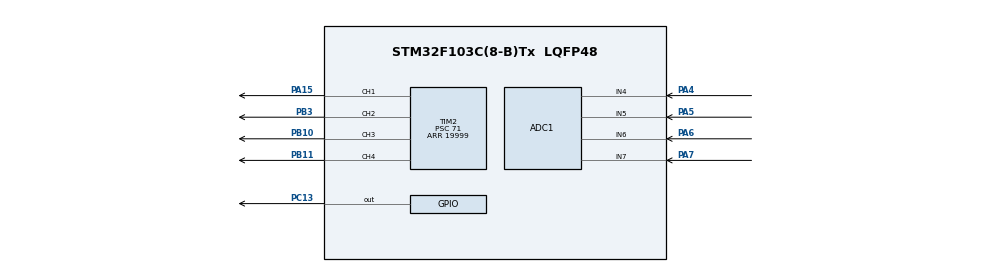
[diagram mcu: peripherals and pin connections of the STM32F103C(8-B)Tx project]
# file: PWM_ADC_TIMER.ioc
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ADC1.Channel-5\#ChannelRegularConversion=ADC_CHANNEL_4
ADC1.NbrOfConversionFlag=1
ADC1.Rank-5\#ChannelRegularConversion=1
ADC1.SamplingTime-5\#ChannelRegularConversion=ADC_SAMPLETIME_1CYCLE_5
ADC1.master=1
Mcu.Family=STM32F1
Mcu.Name=STM32F103C(8-B)Tx
Mcu.Package=LQFP48
NVIC.PriorityGroup=NVIC_PRIORITYGROUP_4
NVIC.TIM3_IRQn=true\:0\:0\:false\:false\:true\:true\:true\:true
PA15.Signal=S_TIM2_CH1_ETR
PA4.Signal=ADCx_IN4
PA5.Signal=ADCx_IN5
PA6.Signal=ADCx_IN6
PA7.Signal=ADCx_IN7
PB10.Signal=S_TIM2_CH3
PB11.Signal=S_TIM2_CH4
PB3.Signal=S_TIM2_CH2
PC13-TAMPER-RTC.Signal=GPIO_Output
PD0-OSC_IN.Mode=HSE-External-Oscillator
PD0-OSC_IN.Signal=RCC_OSC_IN
PD1-OSC_OUT.Mode=HSE-External-Oscillator
PD1-OSC_OUT.Signal=RCC_OSC_OUT
ProjectManager.HeapSize=0x200
ProjectManager.StackSize=0x400
ProjectManager.TargetToolchain=STM32CubeIDE
RCC.APB1CLKDivider=RCC_HCLK_DIV2
RCC.APB1Freq_Value=4000000
RCC.APB1TimFreq_Value=8000000
RCC.APB2Freq_Value=8000000
RCC.PLLMUL=RCC_PLL_MUL9
RCC.PLLSourceVirtual=RCC_PLLSOURCE_HSE
RCC.USBFreq_Value=72000000
SH.ADCx_IN4.0=ADC1_IN4,IN4
SH.ADCx_IN5.0=ADC1_IN5,IN5
SH.ADCx_IN6.0=ADC1_IN6,IN6
SH.ADCx_IN7.0=ADC1_IN7,IN7
SH.S_TIM2_CH1_ETR.0=TIM2_CH1,PWM Generation1 CH1
SH.S_TIM2_CH2.0=TIM2_CH2,PWM Generation2 CH2
SH.S_TIM2_CH3.0=TIM2_CH3,PWM Generation3 CH3
SH.S_TIM2_CH4.0=TIM2_CH4,PWM Generation4 CH4
TIM2.Channel-PWM\ Generation1\ CH1=TIM_CHANNEL_1
TIM2.Channel-PWM\ Generation2\ CH2=TIM_CHANNEL_2
TIM2.Channel-PWM\ Generation3\ CH3=TIM_CHANNEL_3
TIM2.Channel-PWM\ Generation4\ CH4=TIM_CHANNEL_4
TIM2.Period=19999
TIM2.Prescaler=71
TIM2.Pulse-PWM\ Generation2\ CH2=1500
TIM2.Pulse-PWM\ Generation3\ CH3=1500
TIM2.Pulse-PWM\ Generation4\ CH4=1500
TIM3.Period=1999
TIM3.Prescaler=71
VP_SYS_VS_ND.Mode=No_Debug
VP_TIM2_VS_ClockSourceINT.Mode=Internal
VP_TIM3_VS_ClockSourceINT.Mode=Internal
board=custom

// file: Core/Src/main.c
/* USER CODE BEGIN Header */
/**
  ******************************************************************************
  * @file           : main.c
  * @brief          : Main program body
  ******************************************************************************
  * @attention
  *
  * Copyright (c) 2026 STMicroelectronics.
  * All rights reserved.
  *
  * This software is licensed under terms that can be found in the LICENSE file
  * in the root directory of this software component.
  * If no LICENSE file comes with this software, it is provided AS-IS.
  *
  ******************************************************************************
  */
/* USER CODE END Header */
#include "main.h"

/* USER CODE BEGIN Includes */
#include <stdint.h>
/* USER CODE END Includes */

 ADC_HandleTypeDef hadc1;

TIM_HandleTypeDef htim2;
TIM_HandleTypeDef htim3;

/* USER CODE BEGIN PV */
uint32_t adc_buf[4];

uint16_t motor[4] = {1000, 1000, 1000, 1000};

volatile uint8_t control_flag = 0;

#define ADC_BATTERY   adc_buf[0]   // PA4 - IN4
#define ADC_ROLL      adc_buf[1]   // PA5 - IN5
#define ADC_PITCH     adc_buf[2]   // PA6 - IN6
#define ADC_THROTTLE  adc_buf[3]   // PA7 - IN7
/* USER CODE END PV */

void SystemClock_Config(void);
static void MX_GPIO_Init(void);
static void MX_ADC1_Init(void);
static void MX_TIM2_Init(void);
static void MX_TIM3_Init(void);

int main(void)
{

  /* MCU Configuration--------------------------------------------------------*/

  /* Reset of all peripherals, Initializes the Flash interface and the Systick. */
  HAL_Init();

  /* Configure the system clock */
  SystemClock_Config();

  /* Initialize all configured peripherals */
  MX_GPIO_Init();
  MX_ADC1_Init();
  MX_TIM2_Init();
  MX_TIM3_Init();
  /* USER CODE BEGIN 2 */
  // Khởi động ADC + DMA
  HAL_ADC_Start_DMA(&hadc1, adc_buf, 4);

  // Khởi động PWM — đúng chân mới PA15, PB3, PB10, PB11
  HAL_TIM_PWM_Start(&htim2, TIM_CHANNEL_1);  // PA15 - Motor 1
  HAL_TIM_PWM_Start(&htim2, TIM_CHANNEL_2);  // PB3  - Motor 2
  HAL_TIM_PWM_Start(&htim2, TIM_CHANNEL_3);  // PB10 - Motor 3
  HAL_TIM_PWM_Start(&htim2, TIM_CHANNEL_4);  // PB11 - Motor 4

  // Khởi động TIM3 interrupt
  HAL_TIM_Base_Start_IT(&htim3);

  // Tất cả motor về idle
  motor[0] = motor[1] = motor[2] = motor[3] = 1000;
  /* USER CODE END 2 */

  /* Infinite loop */
  /* USER CODE BEGIN WHILE */
  while (1)
  {
	  if (control_flag) {
	          control_flag = 0;
	          Control_Loop();
    /* USER CODE END WHILE */

  }
}

void SystemClock_Config(void)
{
  RCC_OscInitTypeDef RCC_OscInitStruct = {0};
  RCC_ClkInitTypeDef RCC_ClkInitStruct = {0};
  RCC_PeriphCLKInitTypeDef PeriphClkInit = {0};

  /** Initializes the RCC Oscillators according to the specified parameters
  * in the RCC_OscInitTypeDef structure.
  */
  RCC_OscInitStruct.OscillatorType = RCC_OSCILLATORTYPE_HSI;
  RCC_OscInitStruct.HSIState = RCC_HSI_ON;
  RCC_OscInitStruct.HSICalibrationValue = RCC_HSICALIBRATION_DEFAULT;
  RCC_OscInitStruct.PLL.PLLState = RCC_PLL_NONE;
  if (HAL_RCC_OscConfig(&RCC_OscInitStruct) != HAL_OK)
  {
    Error_Handler();
  }

  /** Initializes the CPU, AHB and APB buses clocks
  */
  RCC_ClkInitStruct.ClockType = RCC_CLOCKTYPE_HCLK|RCC_CLOCKTYPE_SYSCLK
                              |RCC_CLOCKTYPE_PCLK1|RCC_CLOCKTYPE_PCLK2;
  RCC_ClkInitStruct.SYSCLKSource = RCC_SYSCLKSOURCE_HSI;
  RCC_ClkInitStruct.AHBCLKDivider = RCC_SYSCLK_DIV1;
  RCC_ClkInitStruct.APB1CLKDivider = RCC_HCLK_DIV2;
  RCC_ClkInitStruct.APB2CLKDivider = RCC_HCLK_DIV1;

  if (HAL_RCC_ClockConfig(&RCC_ClkInitStruct, FLASH_LATENCY_0) != HAL_OK)
  {
    Error_Handler();
  }
  PeriphClkInit.PeriphClockSelection = RCC_PERIPHCLK_ADC;
  PeriphClkInit.AdcClockSelection = RCC_ADCPCLK2_DIV2;
  if (HAL_RCCEx_PeriphCLKConfig(&PeriphClkInit) != HAL_OK)
  {
    Error_Handler();
  }
}

static void MX_ADC1_Init(void)
{

  ADC_ChannelConfTypeDef sConfig = {0};

  /** Common config
  */
  hadc1.Instance = ADC1;
  hadc1.Init.ScanConvMode = ADC_SCAN_DISABLE;
  hadc1.Init.ContinuousConvMode = DISABLE;
  hadc1.Init.DiscontinuousConvMode = DISABLE;
  hadc1.Init.ExternalTrigConv = ADC_SOFTWARE_START;
  hadc1.Init.DataAlign = ADC_DATAALIGN_RIGHT;
  hadc1.Init.NbrOfConversion = 1;
  if (HAL_ADC_Init(&hadc1) != HAL_OK)
  {
    Error_Handler();
  }

  /** Configure Regular Channel
  */
  sConfig.Channel = ADC_CHANNEL_4;
  sConfig.Rank = ADC_REGULAR_RANK_1;
  sConfig.SamplingTime = ADC_SAMPLETIME_1CYCLE_5;
  if (HAL_ADC_ConfigChannel(&hadc1, &sConfig) != HAL_OK)
  {
    Error_Handler();
  }

}

static void MX_TIM2_Init(void)
{

  TIM_ClockConfigTypeDef sClockSourceConfig = {0};
  TIM_MasterConfigTypeDef sMasterConfig = {0};
  TIM_OC_InitTypeDef sConfigOC = {0};

  htim2.Instance = TIM2;
  htim2.Init.Prescaler = 71;
  htim2.Init.CounterMode = TIM_COUNTERMODE_UP;
  htim2.Init.Period = 19999;
  htim2.Init.ClockDivision = TIM_CLOCKDIVISION_DIV1;
  htim2.Init.AutoReloadPreload = TIM_AUTORELOAD_PRELOAD_DISABLE;
  if (HAL_TIM_Base_Init(&htim2) != HAL_OK)
  {
    Error_Handler();
  }
  sClockSourceConfig.ClockSource = TIM_CLOCKSOURCE_INTERNAL;
  if (HAL_TIM_ConfigClockSource(&htim2, &sClockSourceConfig) != HAL_OK)
  {
    Error_Handler();
  }
  if (HAL_TIM_PWM_Init(&htim2) != HAL_OK)
  {
    Error_Handler();
  }
  sMasterConfig.MasterOutputTrigger = TIM_TRGO_RESET;
  sMasterConfig.MasterSlaveMode = TIM_MASTERSLAVEMODE_DISABLE;
  if (HAL_TIMEx_MasterConfigSynchronization(&htim2, &sMasterConfig) != HAL_OK)
  {
    Error_Handler();
  }
  sConfigOC.OCMode = TIM_OCMODE_PWM1;
  sConfigOC.Pulse = 0;
  sConfigOC.OCPolarity = TIM_OCPOLARITY_HIGH;
  sConfigOC.OCFastMode = TIM_OCFAST_DISABLE;
  if (HAL_TIM_PWM_ConfigChannel(&htim2, &sConfigOC, TIM_CHANNEL_1) != HAL_OK)
  {
    Error_Handler();
  }
  sConfigOC.Pulse = 1500;
  if (HAL_TIM_PWM_ConfigChannel(&htim2, &sConfigOC, TIM_CHANNEL_2) != HAL_OK)
  {
    Error_Handler();
  }
  if (HAL_TIM_PWM_ConfigChannel(&htim2, &sConfigOC, TIM_CHANNEL_3) != HAL_OK)
  {
    Error_Handler();
  }
  if (HAL_TIM_PWM_ConfigChannel(&htim2, &sConfigOC, TIM_CHANNEL_4) != HAL_OK)
  {
    Error_Handler();
  }
  HAL_TIM_MspPostInit(&htim2);

}

static void MX_TIM3_Init(void)
{

  TIM_ClockConfigTypeDef sClockSourceConfig = {0};
  TIM_MasterConfigTypeDef sMasterConfig = {0};

  htim3.Instance = TIM3;
  htim3.Init.Prescaler = 71;
  htim3.Init.CounterMode = TIM_COUNTERMODE_UP;
  htim3.Init.Period = 1999;
  htim3.Init.ClockDivision = TIM_CLOCKDIVISION_DIV1;
  htim3.Init.AutoReloadPreload = TIM_AUTORELOAD_PRELOAD_DISABLE;
  if (HAL_TIM_Base_Init(&htim3) != HAL_OK)
  {
    Error_Handler();
  }
  sClockSourceConfig.ClockSource = TIM_CLOCKSOURCE_INTERNAL;
  if (HAL_TIM_ConfigClockSource(&htim3, &sClockSourceConfig) != HAL_OK)
  {
    Error_Handler();
  }
  sMasterConfig.MasterOutputTrigger = TIM_TRGO_RESET;
  sMasterConfig.MasterSlaveMode = TIM_MASTERSLAVEMODE_DISABLE;
  if (HAL_TIMEx_MasterConfigSynchronization(&htim3, &sMasterConfig) != HAL_OK)
  {
    Error_Handler();
  }

}

static void MX_GPIO_Init(void)
{
  GPIO_InitTypeDef GPIO_InitStruct = {0};

  /* GPIO Ports Clock Enable */
  __HAL_RCC_GPIOC_CLK_ENABLE();
  __HAL_RCC_GPIOD_CLK_ENABLE();
  __HAL_RCC_GPIOA_CLK_ENABLE();
  __HAL_RCC_GPIOB_CLK_ENABLE();

  /*Configure GPIO pin Output Level */
  HAL_GPIO_WritePin(GPIOC, GPIO_PIN_13, GPIO_PIN_RESET);

  /*Configure GPIO pin : PC13 */
  GPIO_InitStruct.Pin = GPIO_PIN_13;
  GPIO_InitStruct.Mode = GPIO_MODE_OUTPUT_PP;
  GPIO_InitStruct.Pull = GPIO_NOPULL;
  GPIO_InitStruct.Speed = GPIO_SPEED_FREQ_LOW;
  HAL_GPIO_Init(GPIOC, &GPIO_InitStruct);

}

/* USER CODE BEGIN 4 */
void Motor_SetPulse(uint8_t ch, uint16_t val)
{
    if (val < 1000) val = 1000;
    if (val > 2000) val = 2000;

    switch(ch) {
        case 0: __HAL_TIM_SET_COMPARE(&htim2, TIM_CHANNEL_1, val); break; // PA15
        case 1: __HAL_TIM_SET_COMPARE(&htim2, TIM_CHANNEL_2, val); break; // PB3
        case 2: __HAL_TIM_SET_COMPARE(&htim2, TIM_CHANNEL_3, val); break; // PB10
        case 3: __HAL_TIM_SET_COMPARE(&htim2, TIM_CHANNEL_4, val); break; // PB11
    }
}

uint16_t ADC_Map(uint32_t adc_val, uint16_t out_min, uint16_t out_max)
{
    return (uint16_t)(out_min + ((uint32_t)(adc_val) * (out_max - out_min)) / 4095);
}

void Control_Loop(void)
{
    uint16_t throttle = ADC_Map(ADC_THROTTLE, 1000, 2000);
    int16_t roll      = (int16_t)ADC_Map(ADC_ROLL,  0, 400) - 200;
    int16_t pitch     = (int16_t)ADC_Map(ADC_PITCH, 0, 400) - 200;

    // X-frame quadcopter
    motor[0] = throttle + roll - pitch;  // Motor 1 PA15
    motor[1] = throttle - roll - pitch;  // Motor 2 PB3
    motor[2] = throttle + roll + pitch;  // Motor 3 PB10
    motor[3] = throttle - roll + pitch;  // Motor 4 PB11

    for (uint8_t i = 0; i < 4; i++) {
        Motor_SetPulse(i, motor[i]);
    }

    // Nhấp nháy LED PC13 (active low)
    HAL_GPIO_TogglePin(GPIOC, GPIO_PIN_13);
}

void HAL_TIM_PeriodElapsedCallback(TIM_HandleTypeDef *htim)
{
    if (htim->Instance == TIM3) {
        control_flag = 1;
    }
}
/* USER CODE END 4 */

void Error_Handler(void)
{
  __disable_irq();
  while (1)
  {
  }
}
